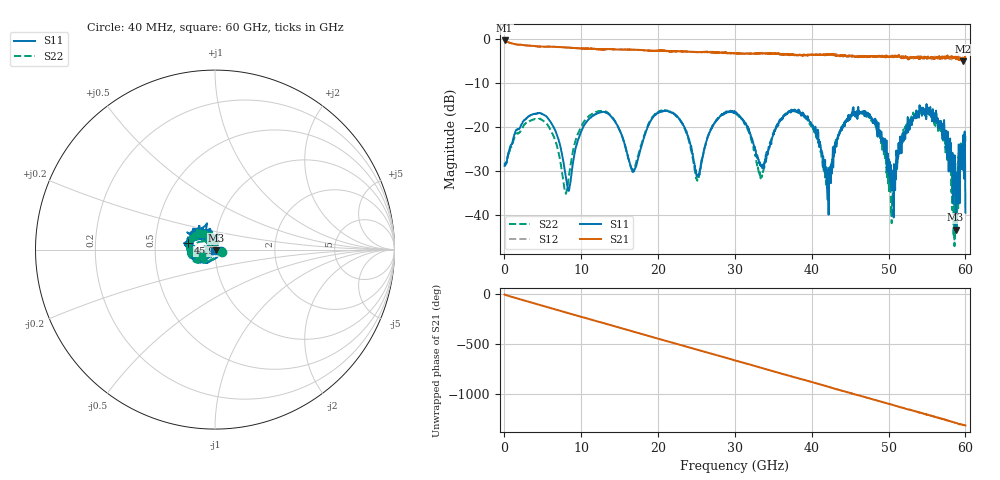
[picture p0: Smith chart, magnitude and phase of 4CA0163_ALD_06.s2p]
! File created by 'SoftPlot +Plus+ Measurement Management Software'
! SoftPlot +Plus+ Measurement Management Software
! Start 40.000000 MHz  Stop 60.000000 GHz  Points 1601
# MHZ S RI R 50
! S-Parameter data, F S11 S21 S12 S22
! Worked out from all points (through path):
!   1601 points, 40 MHz to 60 GHz, reference 50 ohm
!   highest |S21| = -0.37 dB at 40 MHz (marker M1); lowest = -5.1 dB at 59.66 GHz (marker M2)
!   group delay of S21, straight-line fit = 60.8 ps
!   lowest |S11| = -43.3 dB at 58.73 GHz (marker M3), VSWR 1.01, Z = 50.5 - j0.426 ohm
!   |S11| at or under -10 dB: start of sweep to end of sweep
!   |S22| runs from -47.0 to -16.0 dB; largest |S21 - S12| = 0.066
!   S11 on the Smith chart (normalised r, x): 40 MHz: 1.07, -0.02; 45.98 GHz: 0.74, +0.06; 60 GHz: 0.99, -0.02
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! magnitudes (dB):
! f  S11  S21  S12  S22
! 40 MHz  -28.8  -0.4  -0.4  -28.1
! 4.649 GHz  -16.9  -1.7  -1.8  -18.1
! 8.022 GHz  -31.5  -1.9  -2.0  -35.2
! 10.05 GHz  -20.9  -2.2  -2.2  -19.8
! 13.57 GHz  -17.1  -2.4  -2.4  -16.9
! 16.72 GHz  -30.0  -2.4  -2.5  -29.7
! 20.05 GHz  -16.8  -2.8  -2.7  -16.6
! 23.01 GHz  -18.8  -2.8  -2.9  -18.9
! 25.11 GHz  -30.8  -3.0  -3.0  -32.2
! 30.02 GHz  -16.6  -3.3  -3.2  -16.8
! 33.36 GHz  -28.8  -3.3  -3.3  -31.7
! 36.54 GHz  -17.3  -3.5  -3.5  -17.1
! 40.03 GHz  -19.4  -3.6  -3.6  -19.5
! 42.27 GHz  -31.6  -3.6  -3.5  -31.5
! 45.98 GHz  -16.2  -4.0  -3.9  -16.9
! 48.38 GHz  -19.9  -4.0  -3.9  -19.9
! 50.03 GHz  -31.1  -4.1  -3.9  -33.1
! 55.24 GHz  -16.1  -4.2  -4.2  -17.1
! 57.68 GHz  -21.0  -3.8  -4.1  -25.3
! 58.73 GHz  -43.3  -4.1  -4.0  -35.2
! 59.66 GHz  -28.8  -5.1  -4.4  -25.2
! 60 GHz  -39.5  -4.6  -4.7  -22.1
